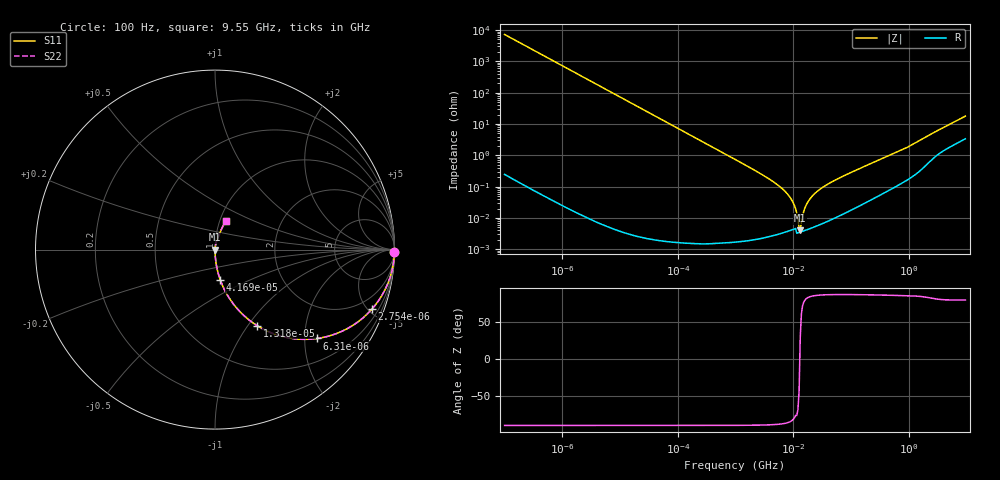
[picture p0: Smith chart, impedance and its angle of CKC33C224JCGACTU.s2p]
! CKC33C224KCGAC
! Temp = 25?C, Bias = 0VDC, Series
! KEMET S2P Model
# HZ S DB R 50
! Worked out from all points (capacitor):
!   400 points, 100 Hz to 9.55 GHz, reference 50 ohm
!   read as one part in series: C = 220 nF near 109.6 Hz
!   lowest |Z| = 4.06 mohm at 13.18 MHz (marker M1)
!   series resonance near 12.96 MHz, so ESL is about 690 pH
!   S11 on the Smith chart (normalised r, x): 100 Hz: open; 2.754 kHz: 1.00, -5.26; 6.31 kHz: 1.00, -2.30; 13.18 kHz: 1.00, -1.10; 41.69 kHz: 1.00, -0.35; 9.55 GHz: 1.07, +0.35
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100  -0.00 -0.8  -37.19 89.2  -37.19 89.2  -0.00 -0.8
630.9573  -0.03 -5.0  -21.22 85.0  -21.22 85.0  -0.03 -5.0
2187.761  -0.38 -16.8  -10.78 73.2  -10.78 73.2  -0.38 -16.8
2754.229  -0.59 -20.8  -8.99 69.2  -8.99 69.2  -0.59 -20.8
6309.573  -2.44 -41.0  -3.66 49.0  -3.66 49.0  -2.44 -41.0
13182.56  -6.32 -61.1  -1.15 28.9  -1.15 28.9  -6.32 -61.1
41686.93  -15.27 -80.1  -0.13 9.9  -0.13 9.9  -15.27 -80.1
45708.81  -16.05 -80.9  -0.11 9.1  -0.11 9.1  -16.05 -80.9
151356.1  -26.33 -87.2  -0.01 2.8  -0.01 2.8  -26.33 -87.2
1000000  -42.73 -89.4  -0.00 0.4  -0.00 0.4  -42.73 -89.4
3467368  -54.10 -89.2  -0.00 0.1  -0.00 0.1  -54.10 -89.2
6606937  -61.66 -87.6  -0.00 0.0  -0.00 0.0  -61.66 -87.6
9120109  -67.74 -84.3  -0.00 0.0  -0.00 0.0  -67.74 -84.3
1.096478e7  -74.13 -76.4  -0.00 0.0  -0.00 0.0  -74.13 -76.4
1.202264e7  -80.74 -68.5  -0.00 0.0  -0.00 0.0  -80.74 -68.5
1.318256e7  -87.83 28.7  -0.00 -0.0  -0.00 -0.0  -87.83 28.7
1.380384e7  -82.61 60.4  -0.00 -0.0  -0.00 -0.0  -82.61 60.4
1.659586e7  -71.95 80.6  -0.00 -0.0  -0.00 -0.0  -71.95 80.6
2.089297e7  -66.31 84.3  -0.00 -0.0  -0.00 -0.0  -66.31 84.3
5.01187e7  -56.27 86.3  -0.00 -0.1  -0.00 -0.1  -56.27 86.3
4.57088e8  -40.08 85.0  -0.01 -0.6  -0.01 -0.6  -40.08 85.0
9.549916e9  -15.35 69.5  -0.41 -9.7  -0.41 -9.7  -15.35 69.5
